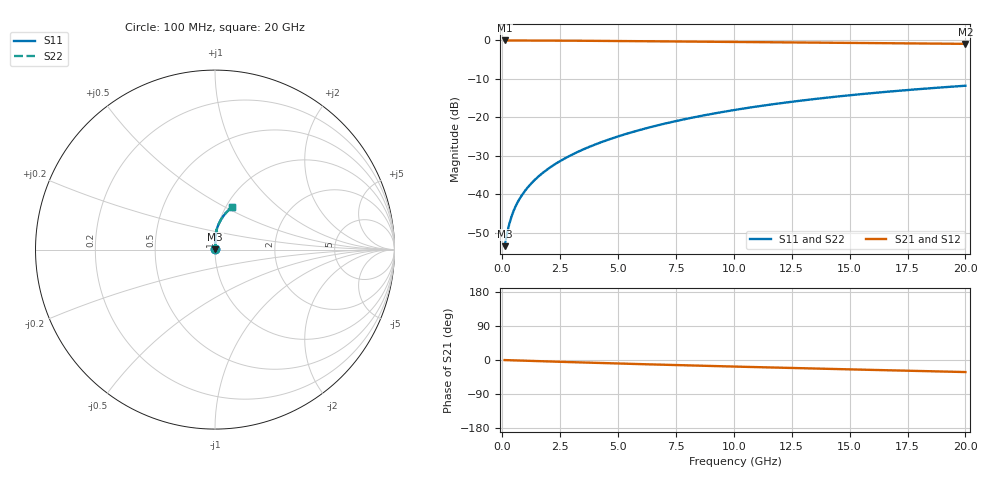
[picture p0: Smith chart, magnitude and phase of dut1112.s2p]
! Touchstone file exported from HFSS 2024.1.0
!  File:  C:/UserFiles/LocalFiles/RDL_TSV_Batchsim/temp_RDL_top_1112_1780046760.aedt
!  Generated:  05:27:55 PM May 29, 2026
!  Design:  RDL_top
!  Project:  temp_RDL_top_1112_1780046760
!  Setup:  Setup1
!  Solution:  Sweep
! Variables:
!  dtsv = 10.80580581um
!  hbump = 3um
!  htsv = 63.62um
!  ldown = 100um
!  lrdl = 490.54um
!  p = 40
!  p1 = 44.09um
!  rhole = 1um
!  t = 450um
!  tdown = 3.915915916um
!  trdl = 4.82um
!  wdown = 15.38538539um
!  wrdl = 23.78um
# GHz S MA R 50.000000
! Terminal data exported
! Port[1] = Box2_T1
! Port[2] = Box2_T2
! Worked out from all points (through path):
!   200 points, 100 MHz to 20 GHz, reference 50 ohm
!   highest |S21| = -0.01 dB at 100 MHz (marker M1); lowest = -0.9 dB at 20 GHz (marker M2)
!   group delay of S21, straight-line fit = 4.36 ps
!   lowest |S11| = -53.5 dB at 100 MHz (marker M3), VSWR 1.00, Z = 50.2 + j0.124 ohm
!   |S11| at or under -10 dB: start of sweep to end of sweep
!   |S22| runs from -53.5 to -11.8 dB; largest |S21 - S12| = 4.2e-15
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0.1  0.00211 35.9  0.9983 -0.2  0.9983 -0.2  0.00211 35.9
! Gamma 0 0 0 0
! Port Impedance 50 0 50 0
0.2  0.003032 53.8  0.9981 -0.4  0.9981 -0.4  0.003032 53.8
0.3  0.004082 62.2  0.998 -0.6  0.998 -0.6  0.004081 62.2
0.4  0.005143 66.9  0.9978 -0.8  0.9978 -0.8  0.005142 66.9
0.5  0.006188 69.9  0.9977 -1.0  0.9977 -1.0  0.006188 69.9
0.6  0.007216 72.2  0.9975 -1.2  0.9975 -1.2  0.007216 72.2
0.8  0.009242 75.4  0.9973 -1.6  0.9973 -1.6  0.009241 75.4
1.1  0.01227 78.8  0.9968 -2.1  0.9968 -2.1  0.01227 78.8
1.3  0.0143 80.4  0.9964 -2.5  0.9964 -2.5  0.0143 80.4
1.6  0.0174 82.4  0.9957 -3.1  0.9957 -3.1  0.01739 82.4
2.1  0.02267 84.6  0.9944 -4.0  0.9944 -4.0  0.02267 84.6
2.7  0.0292 86.4  0.9923 -5.1  0.9923 -5.1  0.0292 86.4
3.5  0.03827 87.7  0.9891 -6.6  0.9891 -6.6  0.03827 87.7
4.2  0.04655 88.3  0.9858 -7.8  0.9858 -7.8  0.04656 88.3
5  0.0564 88.5  0.9818 -9.2  0.9818 -9.2  0.05641 88.5
6.8  0.07984 87.7  0.9721 -12.3  0.9721 -12.3  0.07985 87.7
8.4  0.1017 86.1  0.9632 -14.8  0.9632 -14.8  0.1018 86.1
10.1  0.1255 83.8  0.9538 -17.5  0.9538 -17.5  0.1256 83.8
11.7  0.148 81.3  0.9451 -19.9  0.9451 -19.9  0.148 81.3
13.4  0.1716 78.6  0.9361 -22.4  0.9361 -22.4  0.1717 78.6
16.7  0.2159 73.1  0.9189 -27.2  0.9189 -27.2  0.216 73.1
20  0.2573 67.8  0.9018 -31.8  0.9018 -31.8  0.2574 67.8
